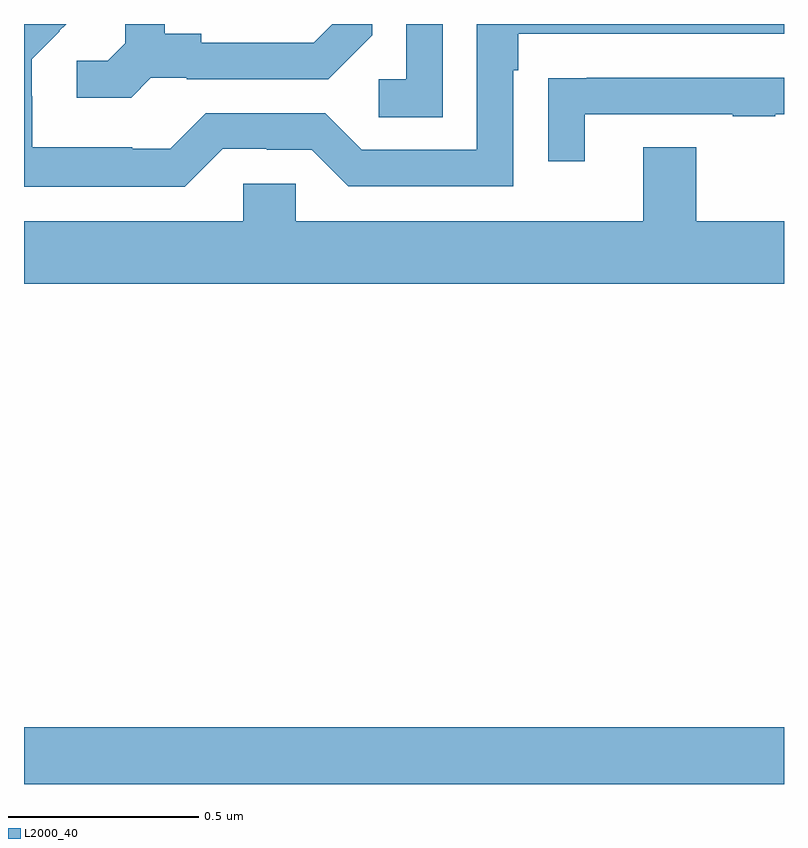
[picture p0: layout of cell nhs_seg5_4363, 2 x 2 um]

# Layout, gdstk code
import gdstk
lib = gdstk.Library(unit=1e-6, precision=1e-09)
def R(c, l, rs):  # rectangles x0, y0, x1, y1
    for r in rs: c.add(gdstk.rectangle(r[:2], r[2:], *l))
def P(c, l, *ps):  # polygons
    for p in ps: c.add(gdstk.Polygon(p, *l))
L2000_40 = (2000, 40)

nhs_seg5_4363 = lib.new_cell('nhs_seg5_4363')
R(nhs_seg5_4363, L2000_40, [(170,832.799,172,832.948)])
P(nhs_seg5_4363, L2000_40, [(170.523,834.471),(170.639,834.471),(170.639,834.468),(170.757,834.468),(170.853,834.372),(171.288,834.372),(171.288,834.677),(171.301,834.677),(171.301,834.774),(172,834.774),(172,834.799),(171.192,834.799),(171.192,834.468),(170.889,834.468),(170.793,834.564),(170.478,834.564),(170.385,834.471),(170.285,834.471),(170.285,834.475),(170.022,834.475),(170.022,834.609),(170.02,834.609),(170.02,834.706),(170.094,834.78),(170.093,834.781),(170.111,834.799),(170,834.799),(170,834.371),(170.423,834.371)],
  [(171.102,834.799),(171.006,834.799),(171.006,834.654),(170.934,834.654),(170.934,834.553),(171.102,834.553)],
  [(170.334,834.657),(170.428,834.657),(170.428,834.654),(170.8,834.654),(170.916,834.77),(170.916,834.799),(170.811,834.799),(170.762,834.75),(170.467,834.75),(170.467,834.773),(170.371,834.773),(170.371,834.799),(170.267,834.799),(170.267,834.749),(170.22,834.702),(170.139,834.702),(170.139,834.605),(170.282,834.605)],
  [(171.475,834.561),(171.865,834.561),(171.865,834.556),(171.977,834.556),(171.977,834.561),(172,834.561),(172,834.657),(171.481,834.657),(171.481,834.656),(171.379,834.656),(171.379,834.438),(171.475,834.438)],
  [(172,834.28),(171.769,834.28),(171.769,834.475),(171.629,834.475),(171.629,834.28),(170.715,834.28),(170.715,834.378),(170.577,834.378),(170.577,834.28),(170,834.28),(170,834.116),(172,834.116)])

lib.write_gds('nhs_seg5_4363.gds')
